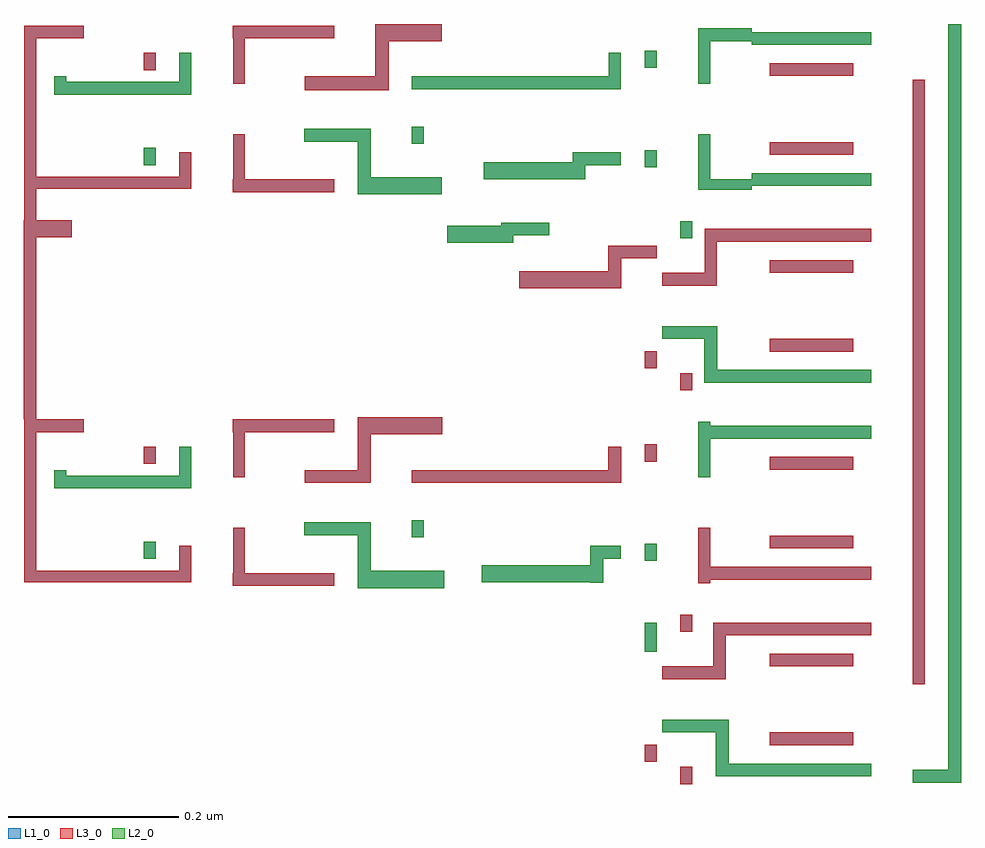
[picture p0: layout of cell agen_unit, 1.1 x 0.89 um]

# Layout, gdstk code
from math import pi, radians
import gdstk
lib = gdstk.Library(unit=1e-6, precision=5e-10)
def R(c, l, rs):  # rectangles x0, y0, x1, y1
    for r in rs: c.add(gdstk.rectangle(r[:2], r[2:], *l))
def P(c, l, *ps):  # polygons
    for p in ps: c.add(gdstk.Polygon(p, *l))
L1_0 = (1, 0)
L2_0 = (2, 0)
L3_0 = (3, 0)

nor = lib.new_cell('nor')
R(nor, L1_0, [(0.2265,0.04,0.2405,0.055), (0.2475,0.072,0.2615,0.087), (0.2055,0.098,0.2195,0.113)])

nand = lib.new_cell('nand')
R(nand, L1_0, [(0.258,0.1025,0.272,0.1675), (0.153,0.1235,0.167,0.1385), (0.195,0.1235,0.209,0.1385)])

inv = lib.new_cell('inv')
R(inv, L1_0, [(0.0695,0.039,0.0835,0.054), (0.0485,0.0985,0.1045,0.1135)])

demux = lib.new_cell('Demux')
R(demux, L1_0, [(0.279,0.0335,0.3425,0.0485), (0.1745,0.0655,0.1885,0.0855), (0.3655,0.0975,0.3755,0.105), (0.3675,0.1555,0.3725,0.1645), (0.1745,0.177,0.1885,0.197), (0.279,0.214,0.3425,0.229)])
P(demux, L1_0, [(0.2305,0.197),(0.2305,0.148),(0.0695,0.148),(0.0695,0.163),(0.2165,0.163),(0.2165,0.197)],
  [(0.0485,0.229),(0.0485,0.0515),(0.2165,0.0515),(0.2165,0.0805),(0.2305,0.0805),(0.2305,0.0375),(0.0345,0.0375),(0.0345,0.229)])
R(demux, L2_0, [(0.1745,0.0655,0.1885,0.0855)])
P(demux, L2_0, [(0.2305,0.197),(0.2305,0.148),(0.0695,0.148),(0.0695,0.1695),(0.0835,0.1695),(0.0835,0.163),(0.2165,0.163),(0.2165,0.197)])
R(demux, L3_0, [(0.1745,0.177,0.1885,0.197)])
P(demux, L3_0, [(0.3985,0.229),(0.3985,0.214),(0.2935,0.214),(0.2935,0.161),(0.2795,0.161),(0.2795,0.214),(0.279,0.214),(0.279,0.229)],
  [(0.2935,0.1015),(0.2935,0.0485),(0.3985,0.0485),(0.3985,0.0335),(0.279,0.0335),(0.279,0.0485),(0.2795,0.0485),(0.2795,0.1015)])
demux.add(gdstk.Reference(nand, (0.0215,0.0585)))
demux.add(gdstk.Reference(nand, (0.0215,0.204), x_reflection=True))
demux.add(gdstk.Reference(inv, (0,0.1155)))
demux.add(gdstk.Reference(inv, (0.294,0.1155)))
demux.add(gdstk.Reference(inv, (0.294,0.147), x_reflection=True))

invx4 = lib.new_cell('invx4')
R(invx4, L1_0, [(0.0755,0.0545,0.1735,0.0695), (0.0545,0.091,0.1945,0.106)])
R(invx4, L3_0, [(0.0755,0.0545,0.1735,0.0695)])

agen_unit = lib.new_cell('agen_unit')
R(agen_unit, L1_0, [(0.805,-0.371,0.819,-0.351), (0.763,-0.345,0.777,-0.325), (0.9945,-0.3245,1.008,-0.312), (1.078,-0.254,1.092,0.4555), (0.9945,-0.2305,1.0075,-0.219), (0.763,-0.202,0.777,-0.182), (0.805,-0.1925,0.819,-0.1725), (0.839,-0.131,0.889,-0.116), (0.763,-0.109,0.777,-0.089), (0.9945,-0.0935,1.0075,-0.0805), (0.49,-0.0815,0.504,-0.0615), (0.9945,-0.001,1.008,0.012), (0.763,0.0075,0.777,0.0275), (0.8395,0.0345,0.889,0.0495), (0.805,0.091,0.819,0.111), (0.763,0.117,0.777,0.137), (0.9945,0.1375,1.0075,0.1505), (0.9945,0.23,1.0075,0.243), (0.805,0.2695,0.819,0.2895), (0.8395,0.3265,0.889,0.339), (0.763,0.353,0.777,0.373), (0.994,0.368,1.008,0.382), (0.49,0.3805,0.504,0.4005), (0.9945,0.4625,1.008,0.4725), (0.763,0.4695,0.777,0.4895), (0.839,0.501,0.889,0.516)])
P(agen_unit, L1_0, [(1.1345,0.5205),(1.1345,-0.3695),(1.078,-0.3695),(1.078,-0.3545),(1.1195,-0.3545),(1.1195,0.5205)],
  [(0.848,0.1665),(0.848,0.115),(0.889,0.115),(0.889,0.1),(0.833,0.1),(0.833,0.1515),(0.798,0.1515),(0.798,0.1665)],
  [(0.889,-0.1815),(0.889,-0.1965),(0.858,-0.1965),(0.858,-0.248),(0.798,-0.248),(0.798,-0.233),(0.8435,-0.233),(0.8435,-0.1815)],
  [(0.8615,-0.2955),(0.8615,-0.347),(0.889,-0.347),(0.889,-0.362),(0.8465,-0.362),(0.8465,-0.3105),(0.798,-0.3105),(0.798,-0.2955)],
  [(0.889,0.2805),(0.889,0.2655),(0.8475,0.2655),(0.8475,0.214),(0.7975,0.214),(0.7975,0.229),(0.8335,0.229),(0.8335,0.2805)],
  [(0.777,0.261),(0.777,0.246),(0.7355,0.246),(0.7355,0.211),(0.616,0.211),(0.616,0.231),(0.7205,0.231),(0.7205,0.261)],
  [(0.735,0.3705),(0.735,0.3555),(0.6935,0.3555),(0.6935,0.339),(0.574,0.339),(0.574,0.359),(0.6785,0.359),(0.6785,0.3705)],
  [(0.721,-0.0915),(0.721,-0.1065),(0.7145,-0.1065),(0.7145,-0.135),(0.6995,-0.135),(0.6995,-0.134),(0.572,-0.134),(0.572,-0.114),(0.6995,-0.114),(0.6995,-0.0915)],
  [(0.651,0.287),(0.651,0.273),(0.609,0.273),(0.609,0.2645),(0.5315,0.2645),(0.5315,0.2845),(0.595,0.2845),(0.595,0.287)],
  [(0.735,0.487),(0.735,0.4445),(0.49,0.4445),(0.49,0.4595),(0.721,0.4595),(0.721,0.487)],
  [(0.7355,0.025),(0.7355,-0.0175),(0.49,-0.0175),(0.49,-0.0025),(0.7205,-0.0025),(0.7205,0.025)],
  [(0.525,0.521),(0.525,0.501),(0.4625,0.501),(0.4625,0.443),(0.364,0.443),(0.364,0.4595),(0.447,0.4595),(0.447,0.521)],
  [(0.5255,0.0595),(0.5255,0.0395),(0.4415,0.0395),(0.4415,-0.0175),(0.364,-0.0175),(0.364,-0.0025),(0.4265,-0.0025),(0.4265,0.0595)],
  [(0.4415,0.398),(0.4415,0.341),(0.525,0.341),(0.525,0.321),(0.4265,0.321),(0.4265,0.383),(0.3635,0.383),(0.3635,0.398)],
  [(0.4415,-0.064),(0.4415,-0.121),(0.528,-0.121),(0.528,-0.141),(0.4265,-0.141),(0.4265,-0.079),(0.3635,-0.079),(0.3635,-0.064)],
  [(0.049,0.3415),(0.049,0.2905),(0.0905,0.2905),(0.0905,0.2705),(0.049,0.2705),(0.049,0.057),(0.0345,0.057),(0.0345,0.2905),(0.035,0.2905),(0.035,0.3415)])
R(agen_unit, L2_0, [(0.763,-0.216,0.777,-0.182), (0.763,-0.109,0.777,-0.089), (0.49,-0.0815,0.504,-0.0615), (0.805,0.2695,0.819,0.2895), (0.763,0.353,0.777,0.373), (0.49,0.3805,0.504,0.4005), (0.763,0.4695,0.777,0.4895)])
P(agen_unit, L2_0, [(1.1345,0.5205),(1.1345,-0.3695),(1.078,-0.3695),(1.078,-0.3545),(1.1195,-0.3545),(1.1195,0.5205)],
  [(0.889,0.516),(0.889,0.5115),(1.029,0.5115),(1.029,0.4965),(0.889,0.4965),(0.889,0.501),(0.84,0.501),(0.84,0.451),(0.826,0.451),(0.826,0.516)],
  [(0.84,0.3915),(0.84,0.339),(0.889,0.339),(0.889,0.346),(1.029,0.346),(1.029,0.331),(0.889,0.331),(0.889,0.3265),(0.826,0.3265),(0.826,0.3915)],
  [(0.84,0.054),(0.84,0.0495),(1.029,0.0495),(1.029,0.0345),(0.84,0.0345),(0.84,-0.011),(0.826,-0.011),(0.826,0.054)],
  [(0.848,0.1665),(0.848,0.115),(1.029,0.115),(1.029,0.1),(0.833,0.1),(0.833,0.1515),(0.784,0.1515),(0.784,0.1665)],
  [(0.8615,-0.2955),(0.8615,-0.347),(1.029,-0.347),(1.029,-0.362),(0.8465,-0.362),(0.8465,-0.3105),(0.784,-0.3105),(0.784,-0.2955)],
  [(0.735,0.3705),(0.735,0.3555),(0.6935,0.3555),(0.6935,0.339),(0.574,0.339),(0.574,0.359),(0.6785,0.359),(0.6785,0.3705)],
  [(0.735,-0.0915),(0.735,-0.1065),(0.7145,-0.1065),(0.7145,-0.135),(0.6995,-0.135),(0.6995,-0.134),(0.572,-0.134),(0.572,-0.114),(0.6995,-0.114),(0.6995,-0.0915)],
  [(0.651,0.288),(0.651,0.273),(0.609,0.273),(0.609,0.2645),(0.5315,0.2645),(0.5315,0.2845),(0.595,0.2845),(0.595,0.288)],
  [(0.735,0.487),(0.735,0.4445),(0.49,0.4445),(0.49,0.4595),(0.721,0.4595),(0.721,0.487)],
  [(0.4415,0.398),(0.4415,0.341),(0.525,0.341),(0.525,0.321),(0.4265,0.321),(0.4265,0.383),(0.3635,0.383),(0.3635,0.398)],
  [(0.4415,-0.064),(0.4415,-0.121),(0.528,-0.121),(0.528,-0.141),(0.4265,-0.141),(0.4265,-0.079),(0.3635,-0.079),(0.3635,-0.064)])
R(agen_unit, L3_0, [(0.805,-0.371,0.819,-0.351), (0.763,-0.345,0.777,-0.325), (1.078,-0.254,1.092,0.4555), (0.805,-0.1925,0.819,-0.1725), (0.763,0.0075,0.777,0.0275), (0.805,0.091,0.819,0.111), (0.763,0.117,0.777,0.137)])
P(agen_unit, L3_0, [(0.84,-0.0705),(0.84,-0.116),(1.029,-0.116),(1.029,-0.131),(0.84,-0.131),(0.84,-0.1355),(0.826,-0.1355),(0.826,-0.0705)],
  [(1.029,0.2805),(1.029,0.2655),(0.8475,0.2655),(0.8475,0.214),(0.784,0.214),(0.784,0.229),(0.8335,0.229),(0.8335,0.2805)],
  [(1.029,-0.1815),(1.029,-0.1965),(0.858,-0.1965),(0.858,-0.248),(0.784,-0.248),(0.784,-0.233),(0.8435,-0.233),(0.8435,-0.1815)],
  [(0.777,0.261),(0.777,0.246),(0.7355,0.246),(0.7355,0.211),(0.616,0.211),(0.616,0.231),(0.7205,0.231),(0.7205,0.261)],
  [(0.7355,0.025),(0.7355,-0.0175),(0.49,-0.0175),(0.49,-0.0025),(0.7205,-0.0025),(0.7205,0.025)],
  [(0.525,0.521),(0.525,0.501),(0.4625,0.501),(0.4625,0.443),(0.364,0.443),(0.364,0.4595),(0.447,0.4595),(0.447,0.521)],
  [(0.5255,0.0595),(0.5255,0.0395),(0.4415,0.0395),(0.4415,-0.0175),(0.364,-0.0175),(0.364,-0.0025),(0.4265,-0.0025),(0.4265,0.0595)],
  [(0.105,0.519),(0.105,0.504),(0.049,0.504),(0.049,0.3415),(0.217,0.3415),(0.217,0.3705),(0.231,0.3705),(0.231,0.3275),(0.049,0.3275),(0.049,0.2905),(0.0905,0.2905),(0.0905,0.2705),(0.049,0.2705),(0.049,0.057),(0.105,0.057),(0.105,0.042),(0.049,0.042),(0.049,-0.1205),(0.217,-0.1205),(0.217,-0.0915),(0.231,-0.0915),(0.231,-0.1345),(0.035,-0.1345),(0.035,0.057),(0.0345,0.057),(0.0345,0.2905),(0.035,0.2905),(0.035,0.519)])
agen_unit.add(gdstk.Reference(nor, (1.0245,-0.288), rotation=pi, x_reflection=True))
agen_unit.add(gdstk.Reference(nor, (1.0245,-0.2555), rotation=pi))
agen_unit.add(gdstk.Reference(nor, (1.0245,0.2065), rotation=pi))
agen_unit.add(gdstk.Reference(nor, (1.0245,0.174), rotation=pi, x_reflection=True))
agen_unit.add(gdstk.Reference(nand, (0.568,0.032), x_reflection=True))
agen_unit.add(gdstk.Reference(nand, (0.568,-0.1135)))
agen_unit.add(gdstk.Reference(nand, (0.568,0.494), x_reflection=True))
agen_unit.add(gdstk.Reference(nand, (0.568,0.3485)))
agen_unit.add(gdstk.Reference(demux, (0.0005,-0.172)))
agen_unit.add(gdstk.Reference(demux, (0.0005,0.29)))
agen_unit.add(gdstk.Reference(invx4, (0.8345,-0.0565)))
agen_unit.add(gdstk.Reference(invx4, (0.8345,0.206), x_reflection=True))
agen_unit.add(gdstk.Reference(invx4, (0.8345,-0.256), x_reflection=True))
agen_unit.add(gdstk.Reference(invx4, (0.8345,-0.025), x_reflection=True))
agen_unit.add(gdstk.Reference(invx4, (0.8345,-0.2875)))
agen_unit.add(gdstk.Reference(invx4, (0.8345,0.4055)))
agen_unit.add(gdstk.Reference(invx4, (0.8345,0.437), x_reflection=True))
agen_unit.add(gdstk.Reference(invx4, (0.8345,0.1745)))
agen_unit.add(gdstk.Reference(inv, (0.5735,-0.025), rotation=pi))
agen_unit.add(gdstk.Reference(inv, (0.4205,-0.0565)))
agen_unit.add(gdstk.Reference(inv, (0.5465,0.1745)))
agen_unit.add(gdstk.Reference(inv, (0.5735,0.437), rotation=pi))
agen_unit.add(gdstk.Reference(inv, (0.4205,0.4055)))

lib.write_gds('agen_unit.gds')
